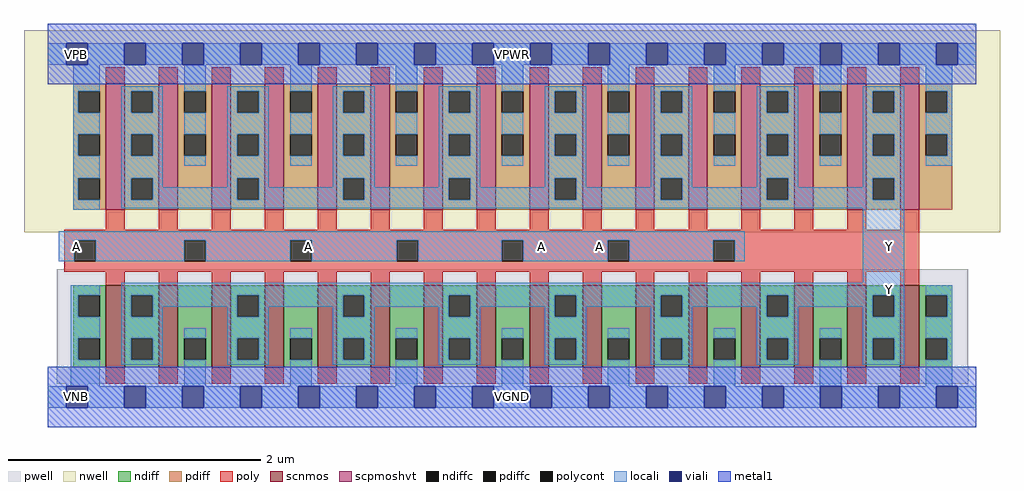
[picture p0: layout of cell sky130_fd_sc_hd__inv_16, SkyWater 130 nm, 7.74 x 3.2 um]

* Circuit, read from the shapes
.subckt sky130_fd_sc_hd__inv_16 A VGND VNB VPB VPWR Y
XM1 Y A VGND VNB sky130_fd_pr__nfet_01v8 w=0.65 l=0.15 m=16
XM2 Y A VPWR VPB sky130_fd_pr__pfet_01v8_hvt w=1 l=0.15 m=16
.ends

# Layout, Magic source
magic
tech sky130B
magscale 1 2
<< nwell >>
rect -38 261 1510 582
<< pwell >>
rect 14 21 1460 203
rect 29 -17 63 21
<< scnmos >>
rect 92 47 122 177
rect 176 47 206 177
rect 260 47 290 177
rect 344 47 374 177
rect 428 47 458 177
rect 512 47 542 177
rect 596 47 626 177
rect 680 47 710 177
rect 764 47 794 177
rect 848 47 878 177
rect 932 47 962 177
rect 1016 47 1046 177
rect 1100 47 1130 177
rect 1184 47 1214 177
rect 1268 47 1298 177
rect 1352 47 1382 177
<< scpmoshvt >>
rect 92 297 122 497
rect 176 297 206 497
rect 260 297 290 497
rect 344 297 374 497
rect 428 297 458 497
rect 512 297 542 497
rect 596 297 626 497
rect 680 297 710 497
rect 764 297 794 497
rect 848 297 878 497
rect 932 297 962 497
rect 1016 297 1046 497
rect 1100 297 1130 497
rect 1184 297 1214 497
rect 1268 297 1298 497
rect 1352 297 1382 497
<< ndiff >>
rect 40 161 92 177
rect 40 127 48 161
rect 82 127 92 161
rect 40 93 92 127
rect 40 59 48 93
rect 82 59 92 93
rect 40 47 92 59
rect 122 161 176 177
rect 122 127 132 161
rect 166 127 176 161
rect 122 93 176 127
rect 122 59 132 93
rect 166 59 176 93
rect 122 47 176 59
rect 206 93 260 177
rect 206 59 216 93
rect 250 59 260 93
rect 206 47 260 59
rect 290 161 344 177
rect 290 127 300 161
rect 334 127 344 161
rect 290 93 344 127
rect 290 59 300 93
rect 334 59 344 93
rect 290 47 344 59
rect 374 93 428 177
rect 374 59 384 93
rect 418 59 428 93
rect 374 47 428 59
rect 458 161 512 177
rect 458 127 468 161
rect 502 127 512 161
rect 458 93 512 127
rect 458 59 468 93
rect 502 59 512 93
rect 458 47 512 59
rect 542 93 596 177
rect 542 59 552 93
rect 586 59 596 93
rect 542 47 596 59
rect 626 161 680 177
rect 626 127 636 161
rect 670 127 680 161
rect 626 93 680 127
rect 626 59 636 93
rect 670 59 680 93
rect 626 47 680 59
rect 710 93 764 177
rect 710 59 720 93
rect 754 59 764 93
rect 710 47 764 59
rect 794 161 848 177
rect 794 127 804 161
rect 838 127 848 161
rect 794 93 848 127
rect 794 59 804 93
rect 838 59 848 93
rect 794 47 848 59
rect 878 93 932 177
rect 878 59 888 93
rect 922 59 932 93
rect 878 47 932 59
rect 962 161 1016 177
rect 962 127 972 161
rect 1006 127 1016 161
rect 962 93 1016 127
rect 962 59 972 93
rect 1006 59 1016 93
rect 962 47 1016 59
rect 1046 93 1100 177
rect 1046 59 1056 93
rect 1090 59 1100 93
rect 1046 47 1100 59
rect 1130 161 1184 177
rect 1130 127 1140 161
rect 1174 127 1184 161
rect 1130 93 1184 127
rect 1130 59 1140 93
rect 1174 59 1184 93
rect 1130 47 1184 59
rect 1214 93 1268 177
rect 1214 59 1224 93
rect 1258 59 1268 93
rect 1214 47 1268 59
rect 1298 161 1352 177
rect 1298 127 1308 161
rect 1342 127 1352 161
rect 1298 93 1352 127
rect 1298 59 1308 93
rect 1342 59 1352 93
rect 1298 47 1352 59
rect 1382 161 1434 177
rect 1382 127 1392 161
rect 1426 127 1434 161
rect 1382 93 1434 127
rect 1382 59 1392 93
rect 1426 59 1434 93
rect 1382 47 1434 59
<< pdiff >>
rect 40 485 92 497
rect 40 451 48 485
rect 82 451 92 485
rect 40 417 92 451
rect 40 383 48 417
rect 82 383 92 417
rect 40 347 92 383
rect 40 313 48 347
rect 82 313 92 347
rect 40 297 92 313
rect 122 485 176 497
rect 122 451 132 485
rect 166 451 176 485
rect 122 417 176 451
rect 122 383 132 417
rect 166 383 176 417
rect 122 347 176 383
rect 122 313 132 347
rect 166 313 176 347
rect 122 297 176 313
rect 206 485 260 497
rect 206 451 216 485
rect 250 451 260 485
rect 206 417 260 451
rect 206 383 216 417
rect 250 383 260 417
rect 206 297 260 383
rect 290 485 344 497
rect 290 451 300 485
rect 334 451 344 485
rect 290 417 344 451
rect 290 383 300 417
rect 334 383 344 417
rect 290 347 344 383
rect 290 313 300 347
rect 334 313 344 347
rect 290 297 344 313
rect 374 485 428 497
rect 374 451 384 485
rect 418 451 428 485
rect 374 417 428 451
rect 374 383 384 417
rect 418 383 428 417
rect 374 297 428 383
rect 458 485 512 497
rect 458 451 468 485
rect 502 451 512 485
rect 458 417 512 451
rect 458 383 468 417
rect 502 383 512 417
rect 458 347 512 383
rect 458 313 468 347
rect 502 313 512 347
rect 458 297 512 313
rect 542 485 596 497
rect 542 451 552 485
rect 586 451 596 485
rect 542 417 596 451
rect 542 383 552 417
rect 586 383 596 417
rect 542 297 596 383
rect 626 485 680 497
rect 626 451 636 485
rect 670 451 680 485
rect 626 417 680 451
rect 626 383 636 417
rect 670 383 680 417
rect 626 347 680 383
rect 626 313 636 347
rect 670 313 680 347
rect 626 297 680 313
rect 710 485 764 497
rect 710 451 720 485
rect 754 451 764 485
rect 710 417 764 451
rect 710 383 720 417
rect 754 383 764 417
rect 710 297 764 383
rect 794 485 848 497
rect 794 451 804 485
rect 838 451 848 485
rect 794 417 848 451
rect 794 383 804 417
rect 838 383 848 417
rect 794 347 848 383
rect 794 313 804 347
rect 838 313 848 347
rect 794 297 848 313
rect 878 485 932 497
rect 878 451 888 485
rect 922 451 932 485
rect 878 417 932 451
rect 878 383 888 417
rect 922 383 932 417
rect 878 297 932 383
rect 962 485 1016 497
rect 962 451 972 485
rect 1006 451 1016 485
rect 962 417 1016 451
rect 962 383 972 417
rect 1006 383 1016 417
rect 962 347 1016 383
rect 962 313 972 347
rect 1006 313 1016 347
rect 962 297 1016 313
rect 1046 485 1100 497
rect 1046 451 1056 485
rect 1090 451 1100 485
rect 1046 417 1100 451
rect 1046 383 1056 417
rect 1090 383 1100 417
rect 1046 297 1100 383
rect 1130 485 1184 497
rect 1130 451 1140 485
rect 1174 451 1184 485
rect 1130 417 1184 451
rect 1130 383 1140 417
rect 1174 383 1184 417
rect 1130 347 1184 383
rect 1130 313 1140 347
rect 1174 313 1184 347
rect 1130 297 1184 313
rect 1214 485 1268 497
rect 1214 451 1224 485
rect 1258 451 1268 485
rect 1214 417 1268 451
rect 1214 383 1224 417
rect 1258 383 1268 417
rect 1214 297 1268 383
rect 1298 485 1352 497
rect 1298 451 1308 485
rect 1342 451 1352 485
rect 1298 417 1352 451
rect 1298 383 1308 417
rect 1342 383 1352 417
rect 1298 347 1352 383
rect 1298 313 1308 347
rect 1342 313 1352 347
rect 1298 297 1352 313
rect 1382 485 1434 497
rect 1382 451 1392 485
rect 1426 451 1434 485
rect 1382 417 1434 451
rect 1382 383 1392 417
rect 1426 383 1434 417
rect 1382 297 1434 383
<< ndiffc >>
rect 48 127 82 161
rect 48 59 82 93
rect 132 127 166 161
rect 132 59 166 93
rect 216 59 250 93
rect 300 127 334 161
rect 300 59 334 93
rect 384 59 418 93
rect 468 127 502 161
rect 468 59 502 93
rect 552 59 586 93
rect 636 127 670 161
rect 636 59 670 93
rect 720 59 754 93
rect 804 127 838 161
rect 804 59 838 93
rect 888 59 922 93
rect 972 127 1006 161
rect 972 59 1006 93
rect 1056 59 1090 93
rect 1140 127 1174 161
rect 1140 59 1174 93
rect 1224 59 1258 93
rect 1308 127 1342 161
rect 1308 59 1342 93
rect 1392 127 1426 161
rect 1392 59 1426 93
<< pdiffc >>
rect 48 451 82 485
rect 48 383 82 417
rect 48 313 82 347
rect 132 451 166 485
rect 132 383 166 417
rect 132 313 166 347
rect 216 451 250 485
rect 216 383 250 417
rect 300 451 334 485
rect 300 383 334 417
rect 300 313 334 347
rect 384 451 418 485
rect 384 383 418 417
rect 468 451 502 485
rect 468 383 502 417
rect 468 313 502 347
rect 552 451 586 485
rect 552 383 586 417
rect 636 451 670 485
rect 636 383 670 417
rect 636 313 670 347
rect 720 451 754 485
rect 720 383 754 417
rect 804 451 838 485
rect 804 383 838 417
rect 804 313 838 347
rect 888 451 922 485
rect 888 383 922 417
rect 972 451 1006 485
rect 972 383 1006 417
rect 972 313 1006 347
rect 1056 451 1090 485
rect 1056 383 1090 417
rect 1140 451 1174 485
rect 1140 383 1174 417
rect 1140 313 1174 347
rect 1224 451 1258 485
rect 1224 383 1258 417
rect 1308 451 1342 485
rect 1308 383 1342 417
rect 1308 313 1342 347
rect 1392 451 1426 485
rect 1392 383 1426 417
<< poly >>
rect 92 497 122 523
rect 176 497 206 523
rect 260 497 290 523
rect 344 497 374 523
rect 428 497 458 523
rect 512 497 542 523
rect 596 497 626 523
rect 680 497 710 523
rect 764 497 794 523
rect 848 497 878 523
rect 932 497 962 523
rect 1016 497 1046 523
rect 1100 497 1130 523
rect 1184 497 1214 523
rect 1268 497 1298 523
rect 1352 497 1382 523
rect 92 265 122 297
rect 176 265 206 297
rect 260 265 290 297
rect 344 265 374 297
rect 428 265 458 297
rect 512 265 542 297
rect 596 265 626 297
rect 680 265 710 297
rect 764 265 794 297
rect 848 265 878 297
rect 932 265 962 297
rect 1016 265 1046 297
rect 1100 265 1130 297
rect 1184 265 1214 297
rect 1268 265 1298 297
rect 1352 265 1382 297
rect 26 249 1382 265
rect 26 215 42 249
rect 76 215 216 249
rect 250 215 384 249
rect 418 215 553 249
rect 587 215 720 249
rect 754 215 888 249
rect 922 215 1055 249
rect 1089 215 1382 249
rect 26 199 1382 215
rect 92 177 122 199
rect 176 177 206 199
rect 260 177 290 199
rect 344 177 374 199
rect 428 177 458 199
rect 512 177 542 199
rect 596 177 626 199
rect 680 177 710 199
rect 764 177 794 199
rect 848 177 878 199
rect 932 177 962 199
rect 1016 177 1046 199
rect 1100 177 1130 199
rect 1184 177 1214 199
rect 1268 177 1298 199
rect 1352 177 1382 199
rect 92 21 122 47
rect 176 21 206 47
rect 260 21 290 47
rect 344 21 374 47
rect 428 21 458 47
rect 512 21 542 47
rect 596 21 626 47
rect 680 21 710 47
rect 764 21 794 47
rect 848 21 878 47
rect 932 21 962 47
rect 1016 21 1046 47
rect 1100 21 1130 47
rect 1184 21 1214 47
rect 1268 21 1298 47
rect 1352 21 1382 47
<< polycont >>
rect 42 215 76 249
rect 216 215 250 249
rect 384 215 418 249
rect 553 215 587 249
rect 720 215 754 249
rect 888 215 922 249
rect 1055 215 1089 249
<< locali >>
rect 0 527 29 561
rect 63 527 121 561
rect 155 527 213 561
rect 247 527 305 561
rect 339 527 397 561
rect 431 527 489 561
rect 523 527 581 561
rect 615 527 673 561
rect 707 527 765 561
rect 799 527 857 561
rect 891 527 949 561
rect 983 527 1041 561
rect 1075 527 1133 561
rect 1167 527 1225 561
rect 1259 527 1317 561
rect 1351 527 1409 561
rect 1443 527 1472 561
rect 40 485 82 527
rect 40 451 48 485
rect 40 417 82 451
rect 40 383 48 417
rect 40 347 82 383
rect 40 313 48 347
rect 40 297 82 313
rect 116 485 182 493
rect 116 451 132 485
rect 166 451 182 485
rect 116 417 182 451
rect 116 383 132 417
rect 166 383 182 417
rect 116 347 182 383
rect 216 485 250 527
rect 216 417 250 451
rect 216 367 250 383
rect 284 485 350 493
rect 284 451 300 485
rect 334 451 350 485
rect 284 417 350 451
rect 284 383 300 417
rect 334 383 350 417
rect 116 313 132 347
rect 166 333 182 347
rect 284 347 350 383
rect 384 485 418 527
rect 384 417 418 451
rect 384 367 418 383
rect 452 485 518 493
rect 452 451 468 485
rect 502 451 518 485
rect 452 417 518 451
rect 452 383 468 417
rect 502 383 518 417
rect 284 333 300 347
rect 166 313 300 333
rect 334 333 350 347
rect 452 347 518 383
rect 552 485 586 527
rect 552 417 586 451
rect 552 367 586 383
rect 620 485 686 493
rect 620 451 636 485
rect 670 451 686 485
rect 620 417 686 451
rect 620 383 636 417
rect 670 383 686 417
rect 452 333 468 347
rect 334 313 468 333
rect 502 333 518 347
rect 620 347 686 383
rect 720 485 754 527
rect 720 417 754 451
rect 720 367 754 383
rect 788 485 854 493
rect 788 451 804 485
rect 838 451 854 485
rect 788 417 854 451
rect 788 383 804 417
rect 838 383 854 417
rect 620 333 636 347
rect 502 313 636 333
rect 670 333 686 347
rect 788 347 854 383
rect 888 485 922 527
rect 888 417 922 451
rect 888 367 922 383
rect 956 485 1022 493
rect 956 451 972 485
rect 1006 451 1022 485
rect 956 417 1022 451
rect 956 383 972 417
rect 1006 383 1022 417
rect 788 333 804 347
rect 670 313 804 333
rect 838 333 854 347
rect 956 347 1022 383
rect 1056 485 1090 527
rect 1056 417 1090 451
rect 1056 367 1090 383
rect 1124 485 1190 493
rect 1124 451 1140 485
rect 1174 451 1190 485
rect 1124 417 1190 451
rect 1124 383 1140 417
rect 1174 383 1190 417
rect 956 333 972 347
rect 838 313 972 333
rect 1006 333 1022 347
rect 1124 347 1190 383
rect 1224 485 1258 527
rect 1224 417 1258 451
rect 1224 367 1258 383
rect 1292 485 1358 493
rect 1292 451 1308 485
rect 1342 451 1358 485
rect 1292 417 1358 451
rect 1292 383 1308 417
rect 1342 383 1358 417
rect 1124 333 1140 347
rect 1006 313 1140 333
rect 1174 333 1190 347
rect 1292 347 1358 383
rect 1392 485 1434 527
rect 1426 451 1434 485
rect 1392 417 1434 451
rect 1426 383 1434 417
rect 1392 367 1434 383
rect 1292 333 1308 347
rect 1174 313 1308 333
rect 1342 313 1358 347
rect 116 299 1358 313
rect 17 249 1105 263
rect 17 215 42 249
rect 76 215 216 249
rect 250 215 384 249
rect 418 215 553 249
rect 587 215 720 249
rect 754 215 888 249
rect 922 215 1055 249
rect 1089 215 1105 249
rect 1292 181 1358 299
rect 36 161 82 177
rect 36 127 48 161
rect 36 93 82 127
rect 36 59 48 93
rect 36 17 82 59
rect 116 161 1358 181
rect 116 127 132 161
rect 166 143 300 161
rect 166 127 182 143
rect 116 93 182 127
rect 284 127 300 143
rect 334 143 468 161
rect 334 127 350 143
rect 116 59 132 93
rect 166 59 182 93
rect 116 51 182 59
rect 216 93 250 109
rect 216 17 250 59
rect 284 93 350 127
rect 452 127 468 143
rect 502 143 636 161
rect 502 127 518 143
rect 284 59 300 93
rect 334 59 350 93
rect 284 51 350 59
rect 384 93 418 109
rect 384 17 418 59
rect 452 93 518 127
rect 620 127 636 143
rect 670 143 804 161
rect 670 127 686 143
rect 452 59 468 93
rect 502 59 518 93
rect 452 51 518 59
rect 552 93 586 109
rect 552 17 586 59
rect 620 93 686 127
rect 788 127 804 143
rect 838 143 972 161
rect 838 127 854 143
rect 620 59 636 93
rect 670 59 686 93
rect 620 51 686 59
rect 720 93 754 109
rect 720 17 754 59
rect 788 93 854 127
rect 956 127 972 143
rect 1006 143 1140 161
rect 1006 127 1022 143
rect 788 59 804 93
rect 838 59 854 93
rect 788 51 854 59
rect 888 93 922 109
rect 888 17 922 59
rect 956 93 1022 127
rect 1124 127 1140 143
rect 1174 143 1308 161
rect 1174 127 1190 143
rect 956 59 972 93
rect 1006 59 1022 93
rect 956 51 1022 59
rect 1056 93 1090 109
rect 1056 17 1090 59
rect 1124 93 1190 127
rect 1292 127 1308 143
rect 1342 127 1358 161
rect 1124 59 1140 93
rect 1174 59 1190 93
rect 1124 51 1190 59
rect 1224 93 1258 109
rect 1224 17 1258 59
rect 1292 93 1358 127
rect 1292 59 1308 93
rect 1342 59 1358 93
rect 1292 51 1358 59
rect 1392 161 1434 177
rect 1426 127 1434 161
rect 1392 93 1434 127
rect 1426 59 1434 93
rect 1392 17 1434 59
rect 0 -17 29 17
rect 63 -17 121 17
rect 155 -17 213 17
rect 247 -17 305 17
rect 339 -17 397 17
rect 431 -17 489 17
rect 523 -17 581 17
rect 615 -17 673 17
rect 707 -17 765 17
rect 799 -17 857 17
rect 891 -17 949 17
rect 983 -17 1041 17
rect 1075 -17 1133 17
rect 1167 -17 1225 17
rect 1259 -17 1317 17
rect 1351 -17 1409 17
rect 1443 -17 1472 17
<< viali >>
rect 29 527 63 561
rect 121 527 155 561
rect 213 527 247 561
rect 305 527 339 561
rect 397 527 431 561
rect 489 527 523 561
rect 581 527 615 561
rect 673 527 707 561
rect 765 527 799 561
rect 857 527 891 561
rect 949 527 983 561
rect 1041 527 1075 561
rect 1133 527 1167 561
rect 1225 527 1259 561
rect 1317 527 1351 561
rect 1409 527 1443 561
rect 29 -17 63 17
rect 121 -17 155 17
rect 213 -17 247 17
rect 305 -17 339 17
rect 397 -17 431 17
rect 489 -17 523 17
rect 581 -17 615 17
rect 673 -17 707 17
rect 765 -17 799 17
rect 857 -17 891 17
rect 949 -17 983 17
rect 1041 -17 1075 17
rect 1133 -17 1167 17
rect 1225 -17 1259 17
rect 1317 -17 1351 17
rect 1409 -17 1443 17
<< metal1 >>
rect 0 561 1472 592
rect 0 527 29 561
rect 63 527 121 561
rect 155 527 213 561
rect 247 527 305 561
rect 339 527 397 561
rect 431 527 489 561
rect 523 527 581 561
rect 615 527 673 561
rect 707 527 765 561
rect 799 527 857 561
rect 891 527 949 561
rect 983 527 1041 561
rect 1075 527 1133 561
rect 1167 527 1225 561
rect 1259 527 1317 561
rect 1351 527 1409 561
rect 1443 527 1472 561
rect 0 496 1472 527
rect 0 17 1472 48
rect 0 -17 29 17
rect 63 -17 121 17
rect 155 -17 213 17
rect 247 -17 305 17
rect 339 -17 397 17
rect 431 -17 489 17
rect 523 -17 581 17
rect 615 -17 673 17
rect 707 -17 765 17
rect 799 -17 857 17
rect 891 -17 949 17
rect 983 -17 1041 17
rect 1075 -17 1133 17
rect 1167 -17 1225 17
rect 1259 -17 1317 17
rect 1351 -17 1409 17
rect 1443 -17 1472 17
rect 0 -48 1472 -17
<< labels >>
flabel locali s 1317 221 1351 255 0 FreeSans 340 0 0 0 Y
port 6 nsew signal output
flabel locali s 1317 153 1351 187 0 FreeSans 340 0 0 0 Y
port 6 nsew signal output
flabel locali s 29 221 63 255 0 FreeSans 340 0 0 0 A
port 1 nsew signal input
flabel locali s 397 221 431 255 0 FreeSans 340 0 0 0 A
port 1 nsew signal input
flabel locali s 765 221 799 255 0 FreeSans 340 0 0 0 A
port 1 nsew signal input
flabel locali s 857 221 891 255 0 FreeSans 340 0 0 0 A
port 1 nsew signal input
flabel nwell s 29 527 63 561 0 FreeSans 200 0 0 0 VPB
port 4 nsew power bidirectional
flabel pwell s 29 -17 63 17 0 FreeSans 200 0 0 0 VNB
port 3 nsew ground bidirectional
flabel metal1 s 29 -17 63 17 0 FreeSans 200 0 0 0 VGND
port 2 nsew ground bidirectional abutment
flabel metal1 s 29 527 63 561 0 FreeSans 200 0 0 0 VPWR
port 5 nsew power bidirectional abutment
rlabel comment s 0 0 0 0 4 inv_16
rlabel metal1 s 0 -48 1472 48 1 VGND
port 2 nsew ground bidirectional abutment
rlabel metal1 s 0 496 1472 592 1 VPWR
port 5 nsew power bidirectional abutment
<< properties >>
string FIXED_BBOX 0 0 1472 544
string GDS_END 2205938
string GDS_FILE $PDKPATH/libs.ref/sky130_fd_sc_hd/gds/sky130_fd_sc_hd.gds
string GDS_START 2194450
string LEFclass CORE
string LEFsite unithd
string LEFsymmetry X Y R90
string path 0.000 0.000 36.800 0.000 
<< end >>
